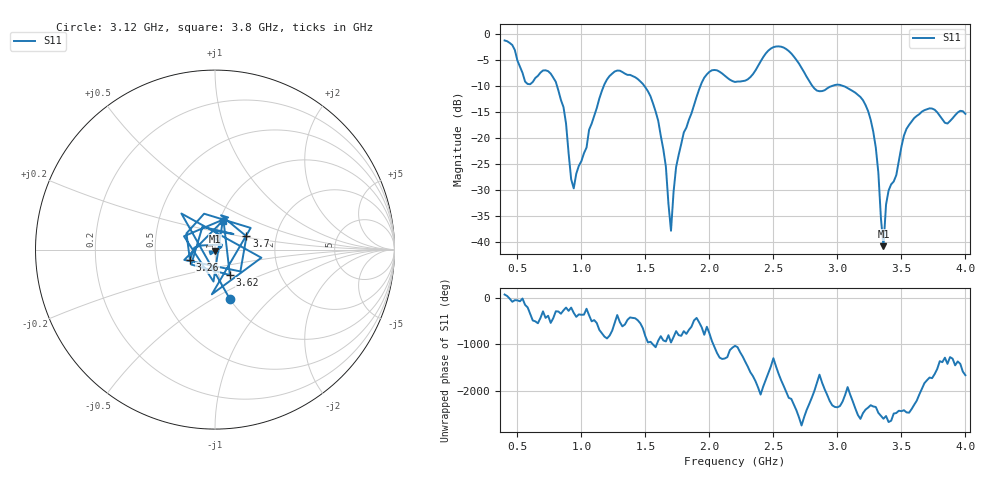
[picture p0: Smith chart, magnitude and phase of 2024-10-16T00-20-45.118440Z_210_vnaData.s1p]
! Created with skrf (http://scikit-rf.org).
# Hz S RI R 50.0
!freq ReS11 ImS11
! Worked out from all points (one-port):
!   181 points, 400 MHz to 4 GHz, reference 50 ohm
!   lowest |S11| = -40.8 dB at 3.36 GHz (marker M1), VSWR 1.02, Z = 50 - j0.916 ohm
!   |S11| at or under -10 dB: 810.5 MHz to 1.174 GHz (363.2 MHz wide, 36.6 % of centre); 1.494 GHz to 1.929 GHz (434.8 MHz wide, 25.4 % of centre); 3.053 GHz to end of sweep (the widest 3 of 4)
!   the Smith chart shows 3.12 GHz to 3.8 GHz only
!   S11 on the Smith chart (normalised r, x): 3.12 GHz: 1.00, -0.59; 3.26 GHz: 0.75, -0.09; 3.62 GHz: 1.13, -0.33; 3.7 GHz: 1.41, +0.22; 3.8 GHz: 1.03, +0.34
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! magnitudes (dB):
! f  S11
! 400 MHz  -1.2
! 580 MHz  -9.5
! 760 MHz  -7.5
! 860 MHz  -14.0
! 940 MHz  -29.6
! 1.18 GHz  -9.6
! 1.3 GHz  -7.0
! 1.58 GHz  -14.9
! 1.66 GHz  -25.5
! 1.7 GHz  -37.8
! 1.76 GHz  -23.2
! 1.96 GHz  -8.3
! 2.2 GHz  -9.2
! 2.5 GHz  -2.5
! 2.66 GHz  -4.3
! 2.84 GHz  -10.8
! 3.1 GHz  -10.6
! 3.12 GHz  -10.9
! 3.26 GHz  -16.4
! 3.32 GHz  -26.6
! 3.36 GHz  -40.8
! 3.38 GHz  -32.8
! 3.4 GHz  -30.0
! 3.56 GHz  -17.4
! 3.62 GHz  -15.7
! 3.7 GHz  -14.4
! 3.8 GHz  -15.7
! 4 GHz  -15.3
